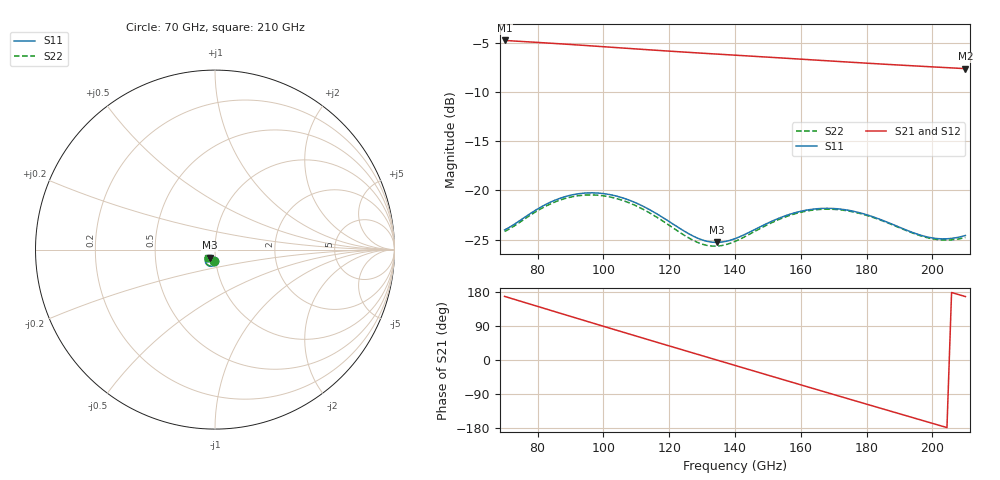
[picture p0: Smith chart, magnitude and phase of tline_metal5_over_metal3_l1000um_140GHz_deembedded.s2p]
! Created with skrf 2.2.0 (http://scikit-rf.org).
# GHz S DB R 50.0
! Port[1] = P1
! Port[2] = P2
!freq dBS11 angS11 dBS21 angS21 dBS12 angS12 dBS22 angS22
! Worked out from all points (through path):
!   101 points, 70 GHz to 210 GHz, reference 50 ohm
!   highest |S21| = -4.77 dB at 70 GHz (marker M1); lowest = -7.6 dB at 210 GHz (marker M2)
!   group delay of S21, straight-line fit = 7.14 ps
!   lowest |S11| = -25.3 dB at 134.4 GHz (marker M3), VSWR 1.12, Z = 46.9 - j4.28 ohm
!   |S11| at or under -10 dB: start of sweep to end of sweep
!   |S22| runs from -25.7 to -20.5 dB; largest |S21 - S12| = 6.6e-14
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70  -24.01 -94.2  -4.77 167.8  -4.77 167.8  -24.16 -94.5
75.6  -22.84 -89.9  -4.88 153.1  -4.88 153.1  -23.00 -90.2
82.6  -21.40 -93.0  -5.03 134.7  -5.03 134.7  -21.58 -93.3
88.2  -20.65 -99.1  -5.14 119.9  -5.14 119.9  -20.83 -99.5
93.8  -20.28 -106.7  -5.27 105.3  -5.27 105.3  -20.48 -107.1
99.4  -20.29 -114.6  -5.39 90.6  -5.39 90.6  -20.52 -115.2
105  -20.66 -122.2  -5.52 76.0  -5.52 76.0  -20.92 -122.8
110.6  -21.37 -128.7  -5.65 61.5  -5.65 61.5  -21.66 -129.2
117.6  -22.65 -133.8  -5.81 43.4  -5.81 43.4  -23.01 -134.2
126  -24.40 -132.7  -5.98 21.7  -5.98 21.7  -24.83 -132.6
134.4  -25.28 -123.3  -6.16 0.1  -6.16 0.1  -25.66 -122.2
140  -24.89 -116.8  -6.27 -14.3  -6.27 -14.3  -25.17 -115.5
145.6  -24.03 -113.8  -6.38 -28.7  -6.38 -28.7  -24.23 -112.6
152.6  -22.92 -115.0  -6.52 -46.6  -6.52 -46.6  -23.05 -114.2
158.2  -22.26 -118.7  -6.64 -61.0  -6.64 -61.0  -22.37 -118.2
163.8  -21.89 -123.6  -6.75 -75.3  -6.75 -75.3  -21.99 -123.4
169.4  -21.83 -128.9  -6.87 -89.6  -6.87 -89.6  -21.91 -129.0
175  -22.05 -133.9  -6.98 -103.9  -6.98 -103.9  -22.12 -134.2
180.6  -22.53 -137.9  -7.09 -118.1  -7.09 -118.1  -22.59 -138.5
187.6  -23.40 -140.5  -7.23 -135.8  -7.23 -135.8  -23.46 -141.5
198.8  -24.75 -136.3  -7.43 -164.2  -7.43 -164.2  -24.82 -138.3
210  -24.57 -126.6  -7.63 167.4  -7.63 167.4  -24.78 -129.4
